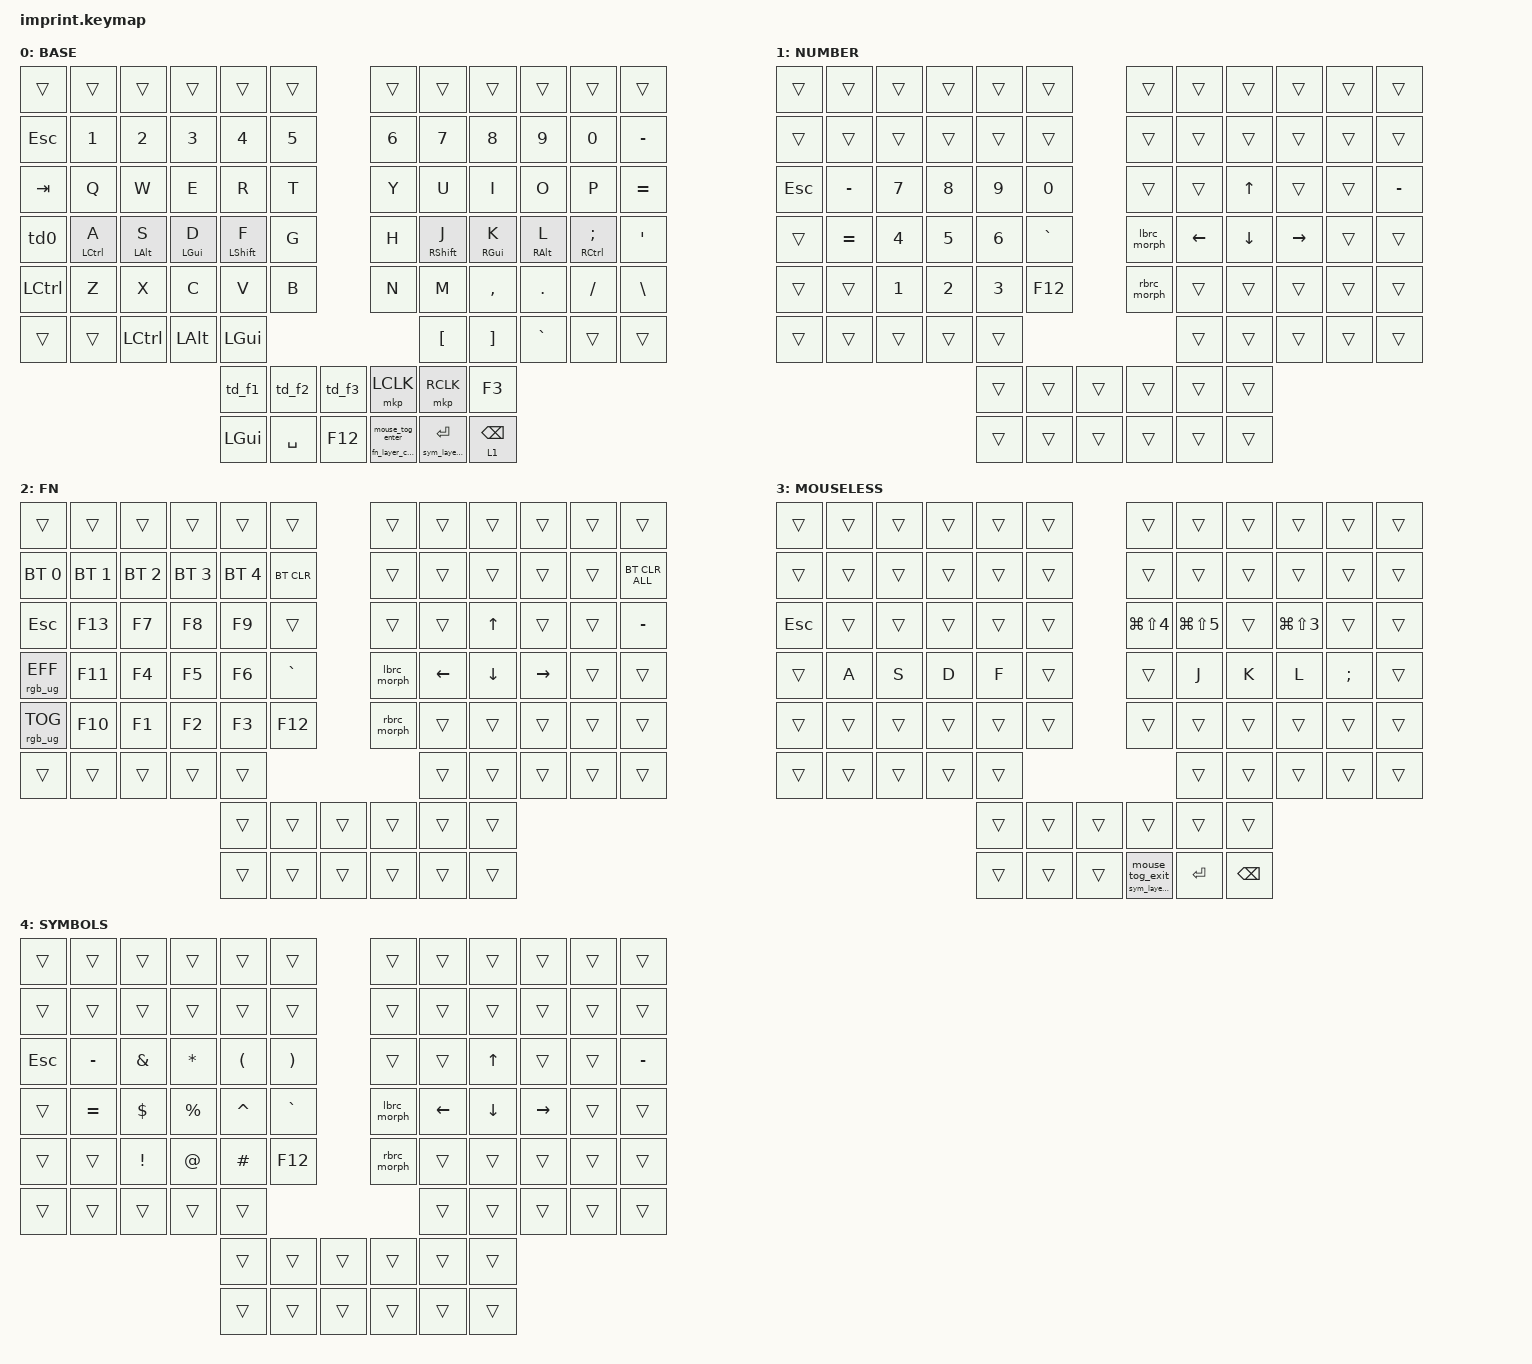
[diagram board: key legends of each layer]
#include <input/processors.dtsi>
#include <dt-bindings/zmk/input_transform.h>
#include <behaviors.dtsi>
#include <dt-bindings/zmk/bt.h>
#include <dt-bindings/zmk/keys.h>
#include <dt-bindings/zmk/pointing.h>
#include <dt-bindings/zmk/rgb.h>

/ {
    chosen { zmk,matrix-transform = &imprint_function_row_full_bottom_row; };

    behaviors {
        td0: td0 {
            compatible = "zmk,behavior-tap-dance";
            display-name = "Shift/Caps Lock Tap Dance";
            #binding-cells = <0>;
            bindings = <&kp LEFT_SHIFT>, <&kp CAPS>;
        };

        td_f1: td_f1 {
            compatible = "zmk,behavior-tap-dance";
            display-name = "Double Tap F1";
            #binding-cells = <0>;
            bindings = <&none>, <&kp F1>;
        };

        td_f2: td_f2 {
            compatible = "zmk,behavior-tap-dance";
            display-name = "Double Tap F2";
            #binding-cells = <0>;
            bindings = <&none>, <&kp F2>;
        };

        td_f3: td_f3 {
            compatible = "zmk,behavior-tap-dance";
            display-name = "Double Tap F3";
            #binding-cells = <0>;
            bindings = <&none>, <&kp F3>;
        };

        num_lt: num_lt {
            compatible = "zmk,behavior-hold-tap";
            display-name = "Backspace/NUMBER Layer";
            #binding-cells = <2>;
            flavor = "balanced";
            tapping-term-ms = <200>;
            bindings = <&mo>, <&kp>;
        };

        lbrc_morph: lbrc_morph {
            compatible = "zmk,behavior-mod-morph";
            #binding-cells = <0>;
            bindings = <&kp LBRC>, <&kp LBKT>;
            mods = <(MOD_LSFT|MOD_RSFT)>;
        };

        rbrc_morph: rbrc_morph {
            compatible = "zmk,behavior-mod-morph";
            #binding-cells = <0>;
            bindings = <&kp RBRC>, <&kp RBKT>;
            mods = <(MOD_LSFT|MOD_RSFT)>;
        };

        hml: home_row_mod_left {
            compatible = "zmk,behavior-hold-tap";
            #binding-cells = <2>;
            flavor = "balanced";
            tapping-term-ms = <280>;
            quick-tap-ms = <175>;
            require-prior-idle-ms = <150>;
            bindings = <&kp>, <&kp>;
            hold-trigger-key-positions = <30 31 32 33 34 35 42 43 44 45 46 47 54 55 56 57 58 59 79 80 81>;
            hold-trigger-on-release;
        };

        hmr: home_row_mod_right {
            compatible = "zmk,behavior-hold-tap";
            #binding-cells = <2>;
            flavor = "balanced";
            tapping-term-ms = <280>;
            quick-tap-ms = <175>;
            require-prior-idle-ms = <150>;
            bindings = <&kp>, <&kp>;
            hold-trigger-key-positions = <24 25 26 27 28 29 36 37 38 39 40 41 48 49 50 51 52 53 76 77 78>;
            hold-trigger-on-release;
        };

        fn_lt_enter: fn_lt_enter {
            compatible = "zmk,behavior-hold-tap";
            #binding-cells = <2>;
            flavor = "balanced";
            tapping-term-ms = <200>;
            bindings = <&sym_layer_color>, <&kp>;
        };

        mouse_lt_enter: mouse_lt_enter {
            compatible = "zmk,behavior-hold-tap";
            #binding-cells = <2>;
            flavor = "balanced";
            tapping-term-ms = <200>;
            bindings = <&fn_layer_color>, <&mouse_tog_enter>;
        };

        mouse_lt_exit: mouse_lt_exit {
            compatible = "zmk,behavior-hold-tap";
            #binding-cells = <2>;
            flavor = "balanced";
            tapping-term-ms = <200>;
            bindings = <&sym_layer_color>, <&mouse_tog_exit>;
        };
    };

    combos {
        compatible = "zmk,combos";
    };

    macros {
        compatible = "zmk,macros";

        num_tog_enter: num_tog_enter {
            compatible = "zmk,behavior-macro";
            #binding-cells = <0>;
            wait-ms = <0>;
            tap-ms = <0>;
            bindings = <&to 1>;
        };

        num_tog_exit: num_tog_exit {
            compatible = "zmk,behavior-macro";
            #binding-cells = <0>;
            wait-ms = <0>;
            tap-ms = <0>;
            bindings = <&to 0>;
        };

        fn_layer_color: fn_layer_color {
            compatible = "zmk,behavior-macro";
            #binding-cells = <0>;
            wait-ms = <0>;
            tap-ms = <0>;
            bindings
                = <&macro_press &mo 2>
                , <&macro_pause_for_release>
                , <&macro_release &mo 2>;
        };

        mouse_tog_enter: mouse_tog_enter {
            compatible = "zmk,behavior-macro";
            #binding-cells = <0>;
            wait-ms = <0>;
            tap-ms = <0>;
            bindings
                = <&tog 3>
                , <&kp RALT>;
        };

        mouse_tog_exit: mouse_tog_exit {
            compatible = "zmk,behavior-macro";
            #binding-cells = <0>;
            wait-ms = <0>;
            tap-ms = <0>;
            bindings
                = <&tog 3>
                , <&kp RALT>;
        };

        sym_layer_color: sym_layer_color {
            compatible = "zmk,behavior-macro";
            #binding-cells = <0>;
            wait-ms = <0>;
            tap-ms = <0>;
            bindings
                = <&macro_press &mo 4>
                , <&macro_pause_for_release>
                , <&macro_release &mo 4>;
        };
    };

    keymap {
        compatible = "zmk,keymap";

        default_layer {
            display-name = "BASE";
            bindings = <
&trans    &trans          &trans         &trans         &trans          &trans              &trans  &trans          &trans         &trans         &trans           &trans
&kp ESC  &kp N1          &kp N2         &kp N3         &kp N4          &kp N5              &kp N6  &kp N7          &kp N8         &kp N9         &kp N0           &kp MINUS
&kp TAB  &kp Q           &kp W          &kp E          &kp R           &kp T               &kp Y   &kp U           &kp I          &kp O          &kp P            &kp EQUAL
&td0     &hml LCTRL A    &hml LALT S    &hml LGUI D    &hml LSHFT F    &kp G               &kp H   &hmr RSHFT J    &hmr RGUI K    &hmr RALT L    &hmr RCTRL SEMI  &kp SQT
&kp LCTRL &kp Z          &kp X          &kp C          &kp V           &kp B               &kp N   &kp M           &kp COMMA      &kp DOT        &kp FSLH         &kp BSLH
&trans   &trans          &kp LCTRL      &kp LALT       &kp LGUI                                    &kp LBKT        &kp RBKT       &kp GRAVE      &trans           &trans
                                                        &td_f1          &td_f2  &td_f3     &mkp LCLK &mkp RCLK      &kp F3
                                                        &kp LGUI        &kp SPACE &kp F12   &mouse_lt_enter 0 0  &fn_lt_enter 0 ENTER  &num_lt 1 BSPC
            >;
        };

        lower_layer {
            display-name = "NUMBER";
            bindings = <
&trans  &trans     &trans  &trans  &trans  &trans              &trans       &trans    &trans    &trans     &trans  &trans
&trans  &trans     &trans  &trans  &trans  &trans              &trans       &trans    &trans    &trans     &trans  &trans
&kp ESC &kp MINUS  &kp N7  &kp N8  &kp N9  &kp N0             &trans       &trans    &kp UP    &trans     &trans  &kp MINUS
&trans  &kp EQUAL  &kp N4  &kp N5  &kp N6  &kp GRAVE          &lbrc_morph  &kp LEFT  &kp DOWN  &kp RIGHT  &trans  &trans
&trans  &trans     &kp N1  &kp N2  &kp N3  &kp F12            &rbrc_morph  &trans    &trans    &trans     &trans  &trans
&trans  &trans     &trans  &trans  &trans                                   &trans    &trans    &trans     &trans  &trans
                                   &trans  &trans  &trans      &trans       &trans    &trans
                                   &trans  &trans  &trans      &trans       &trans    &trans
            >;
        };

        layer_3 {
            display-name = "FN";
            bindings = <
&trans           &trans        &trans        &trans        &trans        &trans              &trans       &trans    &trans    &trans     &trans  &trans
&bt BT_SEL 0     &bt BT_SEL 1  &bt BT_SEL 2  &bt BT_SEL 3  &bt BT_SEL 4  &bt BT_CLR          &trans       &trans    &trans    &trans     &trans  &bt BT_CLR_ALL
&kp ESC          &kp F13       &kp F7        &kp F8        &kp F9        &trans              &trans       &trans    &kp UP    &trans     &trans  &kp MINUS
&rgb_ug RGB_EFF  &kp F11   &kp F4  &kp F5  &kp F6  &kp GRAVE          &lbrc_morph  &kp LEFT  &kp DOWN  &kp RIGHT  &trans  &trans
&rgb_ug RGB_TOG  &kp F10   &kp F1  &kp F2  &kp F3  &kp F12            &rbrc_morph  &trans    &trans    &trans     &trans  &trans
&trans           &trans    &trans  &trans  &trans                                   &trans    &trans    &trans     &trans  &trans
                                           &trans  &trans  &trans      &trans       &trans    &trans
                                           &trans  &trans  &trans      &trans       &trans    &trans
            >;
        };

        mouse_layer {
            display-name = "MOUSELESS";
            bindings = <
&trans  &trans  &trans  &trans  &trans  &trans              &trans          &trans          &trans  &trans          &trans    &trans
&trans  &trans  &trans  &trans  &trans  &trans              &trans          &trans          &trans  &trans          &trans    &trans
&kp ESC &trans  &trans  &trans  &trans  &trans              &kp LG(LS(N4)) &kp LG(LS(N5))  &trans  &kp LG(LS(N3)) &trans    &trans
&trans  &kp A   &kp S   &kp D   &kp F   &trans              &trans          &kp J           &kp K   &kp L           &kp SEMI  &trans
&trans  &trans  &trans  &trans  &trans  &trans              &trans          &trans          &trans  &trans          &trans    &trans
&trans  &trans  &trans  &trans  &trans                                      &trans          &trans  &trans          &trans    &trans
                                &trans  &trans  &trans      &trans          &trans          &trans
                                &trans  &trans  &trans      &mouse_lt_exit 0 0  &kp ENTER   &kp BSPC
            >;
        };

        symbols_layer {
            display-name = "SYMBOLS";
            bindings = <
&trans  &trans     &trans    &trans     &trans     &trans              &trans       &trans    &trans    &trans     &trans  &trans
&trans  &trans     &trans    &trans     &trans     &trans              &trans       &trans    &trans    &trans     &trans  &trans
&kp ESC &kp MINUS  &kp AMPS  &kp ASTRK  &kp LPAR   &kp RPAR           &trans       &trans    &kp UP    &trans     &trans  &kp MINUS
&trans  &kp EQUAL  &kp DLLR  &kp PRCNT  &kp CARET  &kp GRAVE          &lbrc_morph  &kp LEFT  &kp DOWN  &kp RIGHT  &trans  &trans
&trans  &trans     &kp EXCL  &kp AT     &kp HASH   &kp F12            &rbrc_morph  &trans    &trans    &trans     &trans  &trans
&trans  &trans     &trans    &trans     &trans                                      &trans    &trans    &trans     &trans  &trans
                                        &trans     &trans  &trans      &trans       &trans    &trans
                                        &trans     &trans  &trans      &trans       &trans    &trans
            >;
        };
    };
};

// right hand trackball configuration

&trackball_peripheral_listener {
    input-processors = <&zip_xy_scaler 33 20>;
};

// left hand trackball configuration

&trackball_central_listener {
    input-processors =
        // multiply sensitivity by 7, divide by 200 (0.035x scrolling),
        <&zip_xy_scaler 7 200>,
        // make this trackball output scrolling events by default instead of cursor movement,
        <&zip_xy_to_scroll_mapper>,
        // invert vertical scrolling so that the view moves in the same direction as the top of the trackball.,
        <&zip_scroll_transform INPUT_TRANSFORM_Y_INVERT>;
};
